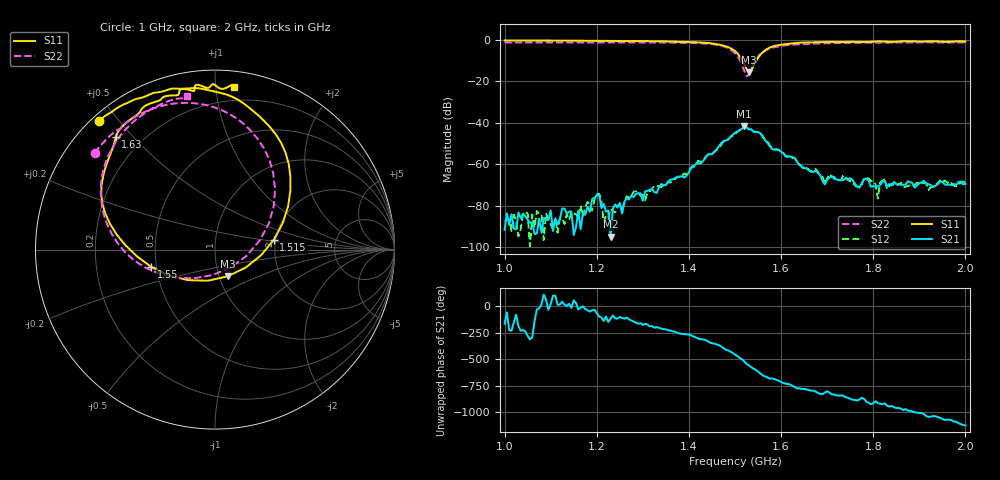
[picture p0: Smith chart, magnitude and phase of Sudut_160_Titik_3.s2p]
# Hz S RI R 50
! CMT, C1220, 16058040, 17.2.0/1
! Date: 14/08/2018 12:38:50
! Data: Format (Calibration Info)
! Freq  S11: Re/Im (F2)  S21: Re/Im (F2)  S12: Re/Im (F2)  S22: Re/Im (F2)
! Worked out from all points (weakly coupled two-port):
!   201 points, 1 GHz to 2 GHz, reference 50 ohm
!   highest |S21| = -41.80 dB at 1.52 GHz (marker M1); lowest = -95.1 dB at 1.23 GHz (marker M2)
!   lowest |S11| = -15.7 dB at 1.53 GHz (marker M3), VSWR 1.39, Z = 54.8 - j16.8 ohm
!   |S11| at or under -10 dB: 1.516 GHz to 1.547 GHz (30.53 MHz wide, 1.99 % of centre)
!   |S22| runs from -17.6 to -1.2 dB; largest |S21 - S12| = 0.00037
!   S11 on the Smith chart (normalised r, x): 1 GHz: 0.02, +0.44; 1.515 GHz: 1.96, +0.24; 1.55 GHz: 0.47, -0.11; 1.63 GHz: 0.11, +0.45; 2 GHz: 0.10, +1.12
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1e9  -0.6471 0.7147  -2.48e-05 -7.85e-06  -3.74e-06 4.15e-05  -0.6704 0.5393
1.17e9  -0.4744 0.8237  6.96e-05 8.64e-07  3.63e-05 -4.25e-05  -0.5588 0.657
1.205e9  -0.4281 0.8417  -1.61e-05 -0.000185  -4.53e-05 -0.000188  -0.5279 0.6717
1.23e9  -0.3916 0.8522  -7.37e-06 -1.6e-05  -1.2e-05 -8.26e-05  -0.5119 0.6933
1.335e9  -0.2133 0.8962  -0.000258 9.67e-05  -0.00028 7.86e-05  -0.3744 0.7746
1.45e9  0.1854 0.7944  0.00168 0.000354  0.00174 0.00026  0.0174 0.7848
1.5e9  0.4203 0.3307  -0.000467 -0.0057  -0.000397 -0.00533  0.3346 0.3392
1.515e9  0.3279 0.0545  -0.00524 -0.00481  -0.00517 -0.005  0.2497 0.0519
1.52e9  0.258 -0.03  -0.00754 -0.00303  -0.00755 -0.00319  0.1787 -0.0325
1.53e9  0.0699 -0.1489  -0.00659 0.00201  -0.00662 0.00196  -0.0125 -0.1416
1.55e9  -0.3543 -0.097  -0.00158 0.00577  -0.00187 0.00572  -0.3857 -0.1023
1.63e9  -0.5531 0.6256  0.00104 -0.000904  0.0011 -0.000836  -0.6157 0.4648
1.67e9  -0.4353 0.7504  0.000173 -0.000621  0.000198 -0.000683  -0.5633 0.5819
1.695e9  -0.4036 0.7895  -2.32e-05 -0.000323  -4.33e-05 -0.000333  -0.5313 0.6297
1.705e9  -0.3796 0.8062  -2.76e-05 -0.000471  -0.00011 -0.000565  -0.5178 0.6471
1.765e9  -0.2485 0.8585  -0.000284 -5.64e-05  -0.000262 -0.000114  -0.4417 0.723
1.79e9  -0.201 0.8684  -0.000395 6.11e-05  -0.000443 6.27e-05  -0.4098 0.7467
1.805e9  -0.195 0.8893  -0.000282 -2.67e-05  -0.000297 0.000139  -0.3921 0.7598
1.81e9  -0.1887 0.8937  -0.000285 5.49e-05  -7.47e-05 0.000127  -0.3863 0.7638
1.815e9  -0.1791 0.8952  -0.000292 0.000108  -0.000353 7.4e-05  -0.3803 0.7675
1.835e9  -0.1271 0.8842  -0.00023 0.000239  -0.000185 0.000249  -0.3568 0.7817
2e9  0.1044 0.907  0.000242 -0.000232  0.00025 -0.000265  -0.1569 0.8541
